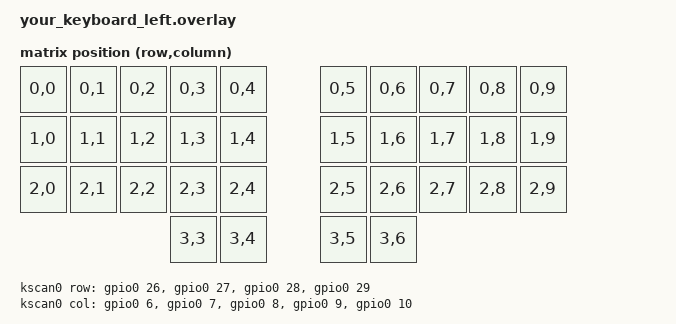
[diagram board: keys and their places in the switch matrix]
#include <dt-bindings/zmk/matrix_transform.h>
#include <dt-bindings/zmk/input_transform.h>

/ {
    chosen {
        zmk,kscan = &kscan0;
        zmk,matrix_transform = &default_transform;
    };

    /* * Matrix Transform: 
     * Maps the 4x5 physical matrix (Left) to the 34-key logical layout 
     * defined in your pnohty.keymap.
     */
    default_transform: matrix_transform {
        compatible = "zmk,matrix-transform";
        columns = <10>;
        rows = <4>;
        map = <
            RC(0,0) RC(0,1) RC(0,2) RC(0,3) RC(0,4)    RC(0,5) RC(0,6) RC(0,7) RC(0,8) RC(0,9)
            RC(1,0) RC(1,1) RC(1,2) RC(1,3) RC(1,4)    RC(1,5) RC(1,6) RC(1,7) RC(1,8) RC(1,9)
            RC(2,0) RC(2,1) RC(2,2) RC(2,3) RC(2,4)    RC(2,5) RC(2,6) RC(2,7) RC(2,8) RC(2,9)
                                    RC(3,3) RC(3,4)    RC(3,5) RC(3,6)
        >;
    };

    /* * Kscan: 
     * Defines the physical GPIO pins on the RP2040-Zero.
     * Based on Sweeq MX schematic: Rows use 26-29, Columns use 6-10.
     */
    kscan0: kscan_0 {
        compatible = "zmk,kscan-gpio-matrix";
        diode-direction = "col2row";
        row-gpios
            = <&gpio0 26 (GPIO_ACTIVE_HIGH | GPIO_PULL_DOWN)> // Row 0 (Top)
            , <&gpio0 27 (GPIO_ACTIVE_HIGH | GPIO_PULL_DOWN)> // Row 1 (Home)
            , <&gpio0 28 (GPIO_ACTIVE_HIGH | GPIO_PULL_DOWN)> // Row 2 (Bottom)
            , <&gpio0 29 (GPIO_ACTIVE_HIGH | GPIO_PULL_DOWN)> // Row 3 (Thumbs)
            ;
        col-gpios
            = <&gpio0 6  GPIO_ACTIVE_HIGH> // Col 0
            , <&gpio0 7  GPIO_ACTIVE_HIGH> // Col 1
            , <&gpio0 8  GPIO_ACTIVE_HIGH> // Col 2
            , <&gpio0 9  GPIO_ACTIVE_HIGH> // Col 3
            , <&gpio0 10 GPIO_ACTIVE_HIGH> // Col 4
            ;
    };

    /* * Trackpoint Hardware Definition:
     * Clock and Data lines for the left-side trackpoint.
     */
    trackpoint_input: trackpoint_input {
        compatible = "zmk,input-ps2-gpio";
        data-gpios = <&gpio0 1 (GPIO_ACTIVE_HIGH | GPIO_PULL_UP)>; 
        clk-gpios  = <&gpio0 0 (GPIO_ACTIVE_HIGH | GPIO_PULL_UP)>;
    };

    /* Trackpoint Logic Listener */
    trackpoint_listener: trackpoint_listener {
        compatible = "zmk,input-listener";
        device = <&trackpoint_input>;
        input-processors = <&zip_xy_transform>;
    };
    
    /* Trackpoint Orientation/Speed Transform */
    zip_xy_transform: zip_xy_transform {
        compatible = "zmk,input-processor-transform";
        #input-processor-cells = <0>;
        type = <0>; // 0 = INPUT_TRANSFORM_NONE
    };
};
